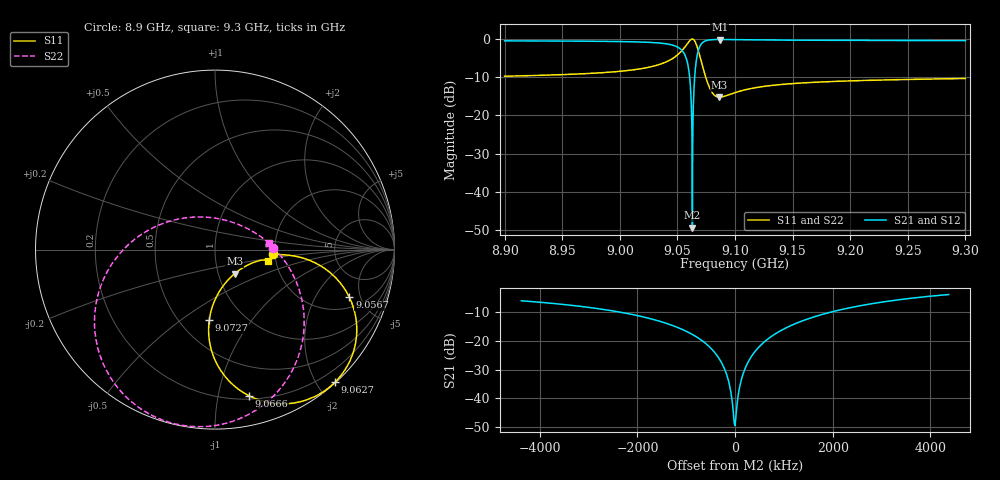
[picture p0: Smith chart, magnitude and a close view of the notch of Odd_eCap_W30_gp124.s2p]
! Sonnet Data File
! From: emgraph Version : 16.52
! From Project: Resonator2_extremeCap2
! Data is De-embedded
! Data File Written: 10/11/2017 09:28:28
!< HDATE 10/10/2017 20:43:28
!< MDATE 10/10/2017 20:43:28
!< PARAMS
!< Pwid1 = 2000.0
!< Pwid2 = 2000.0
!< Air_gap = 18.0
!< Width = 30.0
!< Gap = 124.0
!< END PARAMS
# GHZ S MA R 43.06000
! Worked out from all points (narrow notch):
!   2193 points, 8.9 GHz to 9.3 GHz, reference 43.06 ohm
!   highest |S21| = -0.13 dB at 9.0868 GHz (marker M1); lowest = -49.4 dB at 9.063 GHz (marker M2)
!   notch at M2: 48.9 dB deep, 730 kHz wide at half that depth
!   lowest |S11| = -15.2 dB at 9.0865 GHz (marker M3), VSWR 1.42, Z = 51.6 - j14.2 ohm
!   |S11| at or under -10 dB: 9.0746 GHz to end of sweep
!   |S22| runs from -15.3 to 0.0 dB; largest |S21 - S12| = 0
!   S11 on the Smith chart (normalised r, x): 8.9 GHz: 1.96, -0.10; 9.0567 GHz: 2.76, -3.97; 9.0627 GHz: 0.01, -2.25; 9.0666 GHz: 0.23, -1.24; 9.0727 GHz: 0.69, -0.64; 9.3 GHz: 1.82, -0.25
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8.9  0.3257 -4.0  0.9455 -91.2  0.9455 -91.2  0.3257 1.7
!< P1 F=8.9 Eeff=(5.1612639 -2.2548e-5) Z0=(43.0590329 9.5502e-5) R=0.0 C=0.0
!< P2 F=8.9 Eeff=(5.1612639 -2.2548e-5) Z0=(43.0590329 9.5502e-5) R=0.0 C=0.0
8.96675  0.3498 -4.3  0.9368 -93.4  0.9368 -93.4  0.3498 -2.5
9.033382  0.4589 -4.9  0.8883 -101.5  0.8883 -101.5  0.4589 -18.1
9.04825  0.5881 -8.5  0.8084 -110.8  0.8084 -110.8  0.5878 -33.3
9.05675  0.7941 -19.5  0.606 -128.0  0.606 -128.0  0.7935 -56.7
9.061202  0.9654 -37.7  0.252 -150.7  0.252 -150.7  0.9645 -84.9
9.062232  0.9907 -44.3  0.1161 -157.9  0.1161 -157.9  0.9896 -94.4
9.062741  0.9965 -47.9  0.04142 -159.3  0.04142 -159.3  0.9953 -99.5
9.062866  0.997 -48.8  0.02265 -156.6  0.02265 -156.6  0.9959 -100.8
9.063017  0.9972 -50.0  0.003394 -61.1  0.003394 -61.1  0.9961 -102.4
9.063128  0.997 -50.8  0.01855 2.5  0.01855 2.5  0.9959 -103.6
9.063416  0.9951 -53.0  0.06383 7.1  0.06383 7.1  0.9939 -106.7
9.064003  0.9844 -57.5  0.1583 3.3  0.1583 3.3  0.9832 -113.2
9.066574  0.8372 -76.8  0.542 -19.9  0.542 -19.9  0.8359 -142.3
9.069537  0.5915 -90.9  0.8041 -41.2  0.8041 -41.2  0.5903 -170.9
9.072736  0.3926 -94.7  0.9186 -55.3  0.9186 -55.3  0.3915 164.5
9.0865  0.1731 -50.4  0.9847 -76.3  0.9847 -76.3  0.1726 77.8
9.08675  0.1731 -49.6  0.9847 -76.5  0.9847 -76.5  0.1727 76.6
9.1  0.1986 -26.3  0.98 -82.1  0.98 -82.1  0.1984 42.1
9.16675  0.2703 -12.6  0.9628 -89.1  0.9628 -89.1  0.2703 14.4
9.2335  0.2919 -11.7  0.9564 -91.2  0.9564 -91.2  0.2919 9.2
9.3  0.3041 -12.0  0.9526 -92.6  0.9526 -92.6  0.3041 6.7
